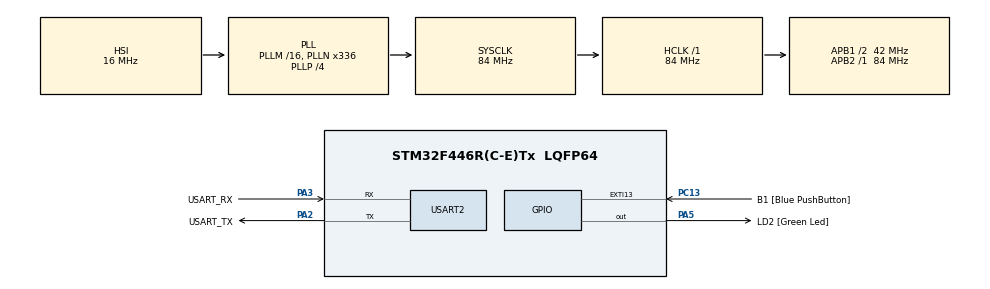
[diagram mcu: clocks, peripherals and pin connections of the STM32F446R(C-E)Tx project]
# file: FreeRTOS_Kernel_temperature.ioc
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ADC1.Channel-0\#ChannelRegularConversion=ADC_CHANNEL_TEMPSENSOR
ADC1.ContinuousConvMode=ENABLE
ADC1.NbrOfConversionFlag=1
ADC1.Rank-0\#ChannelRegularConversion=1
ADC1.SamplingTime-0\#ChannelRegularConversion=ADC_SAMPLETIME_3CYCLES
ADC1.master=1
Mcu.Family=STM32F4
Mcu.Name=STM32F446R(C-E)Tx
Mcu.Package=LQFP64
NVIC.PriorityGroup=NVIC_PRIORITYGROUP_4
NVIC.TIM6_DAC_IRQn=true\:0\:0\:false\:false\:true\:false\:true\:true
NVIC.TimeBase=TIM6_DAC_IRQn
NVIC.TimeBaseIP=TIM6
PA13.GPIO_Label=TMS
PA13.Mode=Serial_Wire
PA13.Signal=SYS_JTMS-SWDIO
PA14.GPIO_Label=TCK
PA14.Mode=Serial_Wire
PA14.Signal=SYS_JTCK-SWCLK
PA2.GPIO_Label=USART_TX
PA2.Mode=Asynchronous
PA2.Signal=USART2_TX
PA3.GPIO_Label=USART_RX
PA3.Mode=Asynchronous
PA3.Signal=USART2_RX
PA5.GPIO_Label=LD2 [Green Led]
PA5.Signal=GPIO_Output
PB3.GPIO_Label=SWO
PB3.Signal=SYS_JTDO-SWO
PC13.GPIO_Label=B1 [Blue PushButton]
PC13.GPIO_ModeDefaultEXTI=GPIO_MODE_IT_FALLING
PC13.Signal=GPXTI13
PC14-OSC32_IN.Mode=LSE-External-Oscillator
PC14-OSC32_IN.Signal=RCC_OSC32_IN
PC15-OSC32_OUT.Mode=LSE-External-Oscillator
PC15-OSC32_OUT.Signal=RCC_OSC32_OUT
PH0-OSC_IN.Mode=HSE-External-Oscillator
PH0-OSC_IN.Signal=RCC_OSC_IN
PH1-OSC_OUT.Mode=HSE-External-Oscillator
PH1-OSC_OUT.Signal=RCC_OSC_OUT
ProjectManager.HeapSize=0x200
ProjectManager.StackSize=0x400
ProjectManager.TargetToolchain=STM32CubeIDE
RCC.48MHZClocksFreq_Value=84000000
RCC.AHBFreq_Value=84000000
RCC.APB1CLKDivider=RCC_HCLK_DIV2
RCC.APB1Freq_Value=42000000
RCC.APB1TimFreq_Value=84000000
RCC.APB2Freq_Value=84000000
RCC.APB2TimFreq_Value=84000000
RCC.CortexFreq_Value=84000000
RCC.FLatency-AdvancedSettings=FLASH_LATENCY_2
RCC.HCLKFreq_Value=84000000
RCC.HSE_VALUE=8000000
RCC.HSI_VALUE=16000000
RCC.PLLN=336
RCC.PLLP=RCC_PLLP_DIV4
RCC.SYSCLKFreq_VALUE=84000000
RCC.SYSCLKSource=RCC_SYSCLKSOURCE_PLLCLK
RCC.USBFreq_Value=168000000
RCC.VCOOutputFreq_Value=336000000
USART2.VirtualMode=VM_ASYNC
VP_ADC1_TempSens_Input.Mode=IN-TempSens
VP_SYS_VS_tim6.Mode=TIM6
board=NUCLEO-F446RE

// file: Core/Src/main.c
/* USER CODE BEGIN Header */
/**
  ******************************************************************************
  * @file           : main.c
  * @brief          : Main program body
  ******************************************************************************
  * @attention
  *
  * Copyright (c) 2025 STMicroelectronics.
  * All rights reserved.
  *
  * This software is licensed under terms that can be found in the LICENSE file
  * in the root directory of this software component.
  * If no LICENSE file comes with this software, it is provided AS-IS.
  *
  ******************************************************************************
  */
/* USER CODE END Header */
#include "main.h"

/* USER CODE BEGIN Includes */
#include "FreeRTOS.h"
#include "task.h"
#include <stdio.h>
#include <string.h>
/* USER CODE END Includes */

ADC_HandleTypeDef hadc1;

UART_HandleTypeDef huart2;

/* USER CODE BEGIN PV */

float Temperature = 0.0f;

/* USER CODE END PV */

void SystemClock_Config(void);
static void MX_GPIO_Init(void);
static void MX_USART2_UART_Init(void);
static void MX_ADC1_Init(void);
/* USER CODE BEGIN PFP */
void StartTempTask(void *argument);
void StartPrintTask(void *argument);

/* USER CODE END PFP */

int main(void)
{

  /* MCU Configuration--------------------------------------------------------*/

  /* Reset of all peripherals, Initializes the Flash interface and the Systick. */
  HAL_Init();

  /* Configure the system clock */
  SystemClock_Config();

  /* Initialize all configured peripherals */
  MX_GPIO_Init();
  MX_USART2_UART_Init();
  MX_ADC1_Init();
  /* USER CODE BEGIN 2 */
  /* Create Tasks */
      xTaskCreate(StartTempTask, "TempTask", 512, NULL, 2, NULL);
      xTaskCreate(StartPrintTask, "PrintTask", 512, NULL, 1, NULL);

      /* Start Scheduler */
      vTaskStartScheduler();

  /* USER CODE END 2 */

  /* Infinite loop */
  while (1)
  {

  }
}

void SystemClock_Config(void)
{
  RCC_OscInitTypeDef RCC_OscInitStruct = {0};
  RCC_ClkInitTypeDef RCC_ClkInitStruct = {0};

  /** Configure the main internal regulator output voltage
  */
  __HAL_RCC_PWR_CLK_ENABLE();
  __HAL_PWR_VOLTAGESCALING_CONFIG(PWR_REGULATOR_VOLTAGE_SCALE3);

  /** Initializes the RCC Oscillators according to the specified parameters
  * in the RCC_OscInitTypeDef structure.
  */
  RCC_OscInitStruct.OscillatorType = RCC_OSCILLATORTYPE_HSI;
  RCC_OscInitStruct.HSIState = RCC_HSI_ON;
  RCC_OscInitStruct.HSICalibrationValue = RCC_HSICALIBRATION_DEFAULT;
  RCC_OscInitStruct.PLL.PLLState = RCC_PLL_ON;
  RCC_OscInitStruct.PLL.PLLSource = RCC_PLLSOURCE_HSI;
  RCC_OscInitStruct.PLL.PLLM = 16;
  RCC_OscInitStruct.PLL.PLLN = 336;
  RCC_OscInitStruct.PLL.PLLP = RCC_PLLP_DIV4;
  RCC_OscInitStruct.PLL.PLLQ = 2;
  RCC_OscInitStruct.PLL.PLLR = 2;
  if (HAL_RCC_OscConfig(&RCC_OscInitStruct) != HAL_OK)
  {
    Error_Handler();
  }

  /** Initializes the CPU, AHB and APB buses clocks
  */
  RCC_ClkInitStruct.ClockType = RCC_CLOCKTYPE_HCLK|RCC_CLOCKTYPE_SYSCLK
                              |RCC_CLOCKTYPE_PCLK1|RCC_CLOCKTYPE_PCLK2;
  RCC_ClkInitStruct.SYSCLKSource = RCC_SYSCLKSOURCE_PLLCLK;
  RCC_ClkInitStruct.AHBCLKDivider = RCC_SYSCLK_DIV1;
  RCC_ClkInitStruct.APB1CLKDivider = RCC_HCLK_DIV2;
  RCC_ClkInitStruct.APB2CLKDivider = RCC_HCLK_DIV1;

  if (HAL_RCC_ClockConfig(&RCC_ClkInitStruct, FLASH_LATENCY_2) != HAL_OK)
  {
    Error_Handler();
  }
}

static void MX_ADC1_Init(void)
{

  ADC_ChannelConfTypeDef sConfig = {0};

  /** Configure the global features of the ADC (Clock, Resolution, Data Alignment and number of conversion)
  */
  hadc1.Instance = ADC1;
  hadc1.Init.ClockPrescaler = ADC_CLOCK_SYNC_PCLK_DIV4;
  hadc1.Init.Resolution = ADC_RESOLUTION_12B;
  hadc1.Init.ScanConvMode = DISABLE;
  hadc1.Init.ContinuousConvMode = DISABLE;
  hadc1.Init.DiscontinuousConvMode = DISABLE;
  hadc1.Init.ExternalTrigConvEdge = ADC_EXTERNALTRIGCONVEDGE_NONE;
  hadc1.Init.ExternalTrigConv = ADC_SOFTWARE_START;
  hadc1.Init.DataAlign = ADC_DATAALIGN_RIGHT;
  hadc1.Init.NbrOfConversion = 1;
  hadc1.Init.DMAContinuousRequests = DISABLE;
  hadc1.Init.EOCSelection = ADC_EOC_SINGLE_CONV;
  if (HAL_ADC_Init(&hadc1) != HAL_OK)
  {
    Error_Handler();
  }

  /** Configure for the selected ADC regular channel its corresponding rank in the sequencer and its sample time.
  */
  sConfig.Channel = ADC_CHANNEL_TEMPSENSOR;
  sConfig.Rank = 1;
  sConfig.SamplingTime = ADC_SAMPLETIME_3CYCLES;
  if (HAL_ADC_ConfigChannel(&hadc1, &sConfig) != HAL_OK)
  {
    Error_Handler();
  }

}

static void MX_USART2_UART_Init(void)
{

  huart2.Instance = USART2;
  huart2.Init.BaudRate = 115200;
  huart2.Init.WordLength = UART_WORDLENGTH_8B;
  huart2.Init.StopBits = UART_STOPBITS_1;
  huart2.Init.Parity = UART_PARITY_NONE;
  huart2.Init.Mode = UART_MODE_TX_RX;
  huart2.Init.HwFlowCtl = UART_HWCONTROL_NONE;
  huart2.Init.OverSampling = UART_OVERSAMPLING_16;
  if (HAL_UART_Init(&huart2) != HAL_OK)
  {
    Error_Handler();
  }

}

static void MX_GPIO_Init(void)
{
  GPIO_InitTypeDef GPIO_InitStruct = {0};

  /* GPIO Ports Clock Enable */
  __HAL_RCC_GPIOC_CLK_ENABLE();
  __HAL_RCC_GPIOH_CLK_ENABLE();
  __HAL_RCC_GPIOA_CLK_ENABLE();
  __HAL_RCC_GPIOB_CLK_ENABLE();

  /*Configure GPIO pin Output Level */
  HAL_GPIO_WritePin(LD2_GPIO_Port, LD2_Pin, GPIO_PIN_RESET);

  /*Configure GPIO pin : B1_Pin */
  GPIO_InitStruct.Pin = B1_Pin;
  GPIO_InitStruct.Mode = GPIO_MODE_IT_FALLING;
  GPIO_InitStruct.Pull = GPIO_NOPULL;
  HAL_GPIO_Init(B1_GPIO_Port, &GPIO_InitStruct);

  /*Configure GPIO pin : LD2_Pin */
  GPIO_InitStruct.Pin = LD2_Pin;
  GPIO_InitStruct.Mode = GPIO_MODE_OUTPUT_PP;
  GPIO_InitStruct.Pull = GPIO_NOPULL;
  GPIO_InitStruct.Speed = GPIO_SPEED_FREQ_LOW;
  HAL_GPIO_Init(LD2_GPIO_Port, &GPIO_InitStruct);

}

/* USER CODE BEGIN 4 */
/* Temperature Reading Task */
void StartTempTask(void *argument)
{
    uint32_t rawValue;
    float Vsense;

    for(;;)
    {
        HAL_ADC_Start(&hadc1);
        if(HAL_ADC_PollForConversion(&hadc1, 100) == HAL_OK)
        {
            rawValue = HAL_ADC_GetValue(&hadc1);
            Vsense = (rawValue * 3.3) / 4095.0; // Convert to voltage
            Temperature = ((Vsense - 0.76) / 0.0025) + 25; // STM32 reference formula
        }
        HAL_ADC_Stop(&hadc1);
        vTaskDelay(pdMS_TO_TICKS(1000)); // 1s delay
    }
}

/* Print Task */
void StartPrintTask(void *argument)
{
    char msg[50];
    for(;;)
    {
        sprintf(msg, "Temperature: %.2f C\r\n", Temperature);
        HAL_UART_Transmit(&huart2, (uint8_t*)msg, strlen(msg), HAL_MAX_DELAY);
        vTaskDelay(pdMS_TO_TICKS(1000));
    }
}

/* USER CODE END 4 */

void HAL_TIM_PeriodElapsedCallback(TIM_HandleTypeDef *htim)
{
  if (htim->Instance == TIM6) {
    HAL_IncTick();
  }
}

void Error_Handler(void)
{
  __disable_irq();
  while (1)
  {
  }
}
